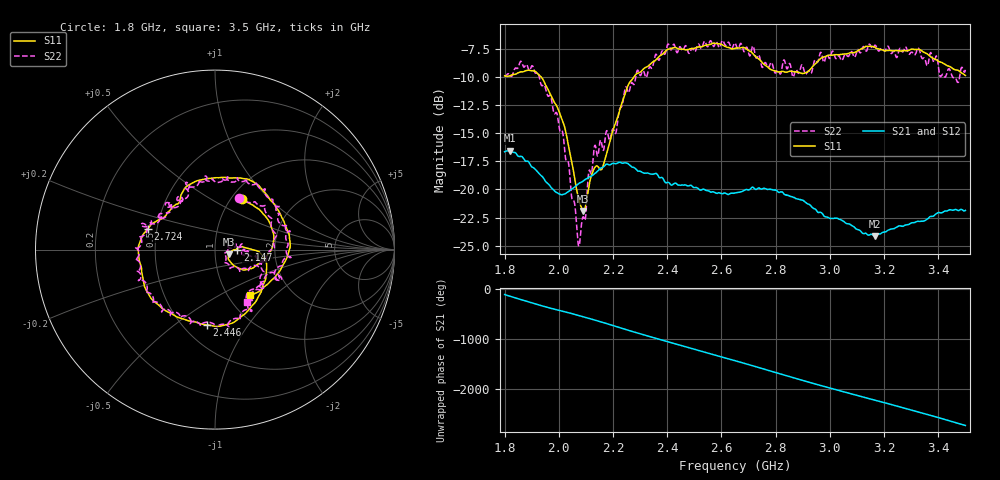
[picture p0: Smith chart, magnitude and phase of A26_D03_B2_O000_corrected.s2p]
! Created with skrf 1.9.0 (http://scikit-rf.org).
# Hz S RI R 50.0
!freq ReS11 ImS11 ReS21 ImS21 ReS12 ImS12 ReS22 ImS22
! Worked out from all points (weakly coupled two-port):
!   1601 points, 1.8 GHz to 3.5 GHz, reference 50 ohm
!   highest |S21| = -16.54 dB at 1.818 GHz (marker M1); lowest = -24.1 dB at 3.165 GHz (marker M2)
!   lowest |S11| = -21.9 dB at 2.09 GHz (marker M3), VSWR 1.17, Z = 58.1 - j3.07 ohm
!   |S11| at or under -10 dB: 1.935 GHz to 2.276 GHz (341 MHz wide, 16.2 % of centre)
!   |S22| runs from -25.0 to -6.7 dB; largest |S21 - S12| = 0.0026
!   S11 on the Smith chart (normalised r, x): 1.8 GHz: 1.12, +0.71; 2.147 GHz: 1.29, +0.00; 2.446 GHz: 0.65, -0.66; 2.724 GHz: 0.44, +0.12; 3.5 GHz: 1.26, -0.72
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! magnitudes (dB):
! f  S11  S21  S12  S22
! 1.8 GHz  -9.9  -16.6  -16.6  -9.9
! 1.818 GHz  -9.9  -16.5  -16.6  -9.7
! 1.903 GHz  -9.4  -18.0  -18.0  -9.0
! 1.968 GHz  -11.5  -19.7  -19.7  -11.6
! 2.015 GHz  -13.9  -20.5  -20.5  -15.0
! 2.071 GHz  -20.6  -19.5  -19.6  -24.7
! 2.084 GHz  -21.6  -19.4  -19.3  -23.1
! 2.09 GHz  -21.9  -19.2  -19.3  -22.4
! 2.113 GHz  -19.4  -18.9  -18.9  -18.3
! 2.147 GHz  -18.1  -18.3  -18.3  -16.5
! 2.209 GHz  -14.1  -17.7  -17.7  -15.0
! 2.259 GHz  -10.6  -17.8  -17.8  -11.3
! 2.367 GHz  -8.2  -18.8  -18.8  -8.5
! 2.446 GHz  -7.5  -19.6  -19.6  -7.3
! 2.65 GHz  -7.4  -20.3  -20.3  -7.0
! 2.724 GHz  -8.1  -20.0  -19.9  -8.0
! 2.802 GHz  -9.5  -20.1  -20.1  -9.6
! 2.934 GHz  -9.1  -21.6  -21.5  -9.5
! 3.165 GHz  -7.3  -24.1  -24.1  -7.2
! 3.217 GHz  -7.6  -23.6  -23.6  -7.4
! 3.468 GHz  -9.4  -21.8  -21.8  -10.3
! 3.5 GHz  -9.8  -21.9  -21.9  -9.4
